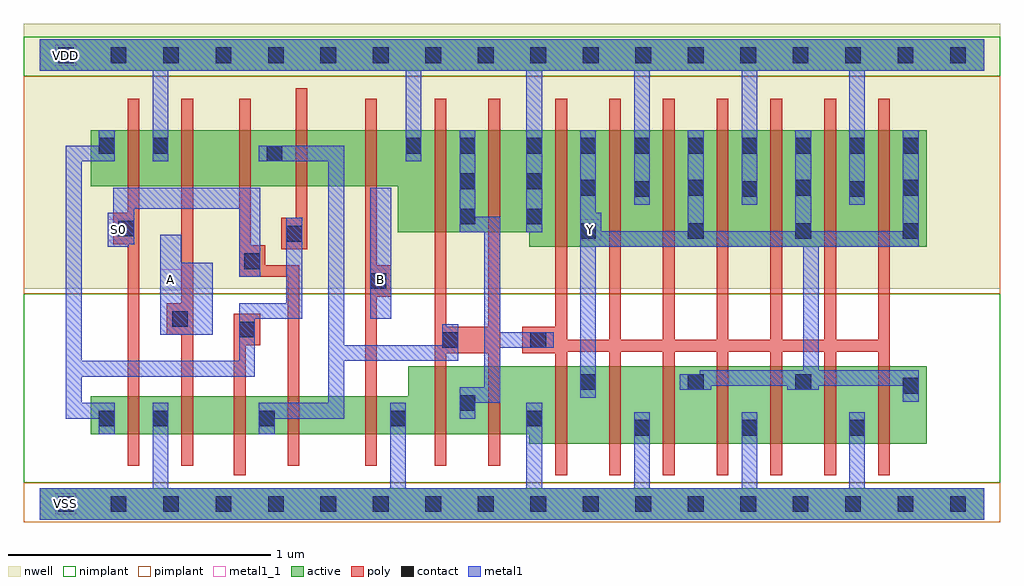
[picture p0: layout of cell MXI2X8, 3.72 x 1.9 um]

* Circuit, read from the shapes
.subckt MXI2X8 A B S0 VDD VSS Y
M1 VSS S0 n1 VSS nfet w=0.145u l=0.045u
M2 n2 A VSS VSS nfet w=0.145u l=0.045u
M3 n3 n1 n2 VSS nfet w=0.145u l=0.045u
M4 n4 S0 n3 VSS nfet w=0.145u l=0.045u
M5 VSS B n4 VSS nfet w=0.145u l=0.045u
M6 n5 n3 VSS VSS nfet w=0.26u l=0.045u m=2
M7 Y n5 VSS VSS nfet w=0.295u l=0.045u m=7
M8 VDD S0 n1 VDD pfet w=0.215u l=0.045u
M9 n6 A VDD VDD pfet w=0.215u l=0.045u
M10 n3 S0 n6 VDD pfet w=0.215u l=0.045u
M11 n7 n1 n3 VDD pfet w=0.215u l=0.045u
M12 VDD B n7 VDD pfet w=0.215u l=0.045u
M13 n5 n3 VDD VDD pfet w=0.39u l=0.045u m=2
M14 Y n5 VDD VDD pfet w=0.445u l=0.045u m=7
.ends

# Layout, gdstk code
import gdstk
lib = gdstk.Library(unit=1e-6, precision=5e-10)
def R(c, l, rs):  # rectangles x0, y0, x1, y1
    for r in rs: c.add(gdstk.rectangle(r[:2], r[2:], *l))
def A(c, l, x, y, w, h, nx, ny, dx, dy):  # array of equal rectangles
    R(c, l, [(x+i*dx, y+j*dy, x+i*dx+w, y+j*dy+h) for i in range(nx) for j in range(ny)])
def P(c, l, *ps):  # polygons
    for p in ps: c.add(gdstk.Polygon(p, *l))
active = (1, 0)
nwell = (2, 0)
poly = (3, 0)
nimplant = (4, 0)
pimplant = (5, 0)
contact = (6, 0)
metal1 = (7, 0)
metal1_1 = (7, 1)

mxi2x8 = lib.new_cell('MXI2X8')
R(mxi2x8, active, [(0,-0.06,3.6,0.06), (0,1.65,3.6,1.77)])
P(mxi2x8, active, [(0.195,1.425),(3.38,1.425),(3.38,0.98),(1.865,0.98),(1.865,1.035),(1.365,1.035),(1.365,1.21),(0.195,1.21)],
  [(1.405,0.525),(3.38,0.525),(3.38,0.23),(1.865,0.23),(1.865,0.265),(0.195,0.265),(0.195,0.41),(1.405,0.41)])
R(mxi2x8, nwell, [(-0.06,0.82,3.66,1.83)])
P(mxi2x8, poly, [(0.335,1.545),(0.38,1.545),(0.38,0.145),(0.335,0.145),(0.335,0.99),(0.28,0.99),(0.28,1.11),(0.335,1.11)],
  [(0.54,1.545),(0.585,1.545),(0.585,0.145),(0.54,0.145),(0.54,0.645),(0.485,0.645),(0.485,0.765),(0.54,0.765)],
  [(0.76,1.545),(0.805,1.545),(0.805,0.985),(0.86,0.985),(0.86,0.91),(0.99,0.91),(0.99,0.145),(0.945,0.145),(0.945,0.865),(0.76,0.865)],
  [(0.975,1.585),(1.02,1.585),(1.02,0.97),(0.92,0.97),(0.92,1.09),(0.975,1.09)],
  [(1.24,1.545),(1.285,1.545),(1.285,0.91),(1.34,0.91),(1.34,0.79),(1.285,0.79),(1.285,0.145),(1.24,0.145)],
  [(1.505,1.545),(1.55,1.545),(1.55,0.675),(1.71,0.675),(1.71,1.545),(1.755,1.545),(1.755,0.145),(1.71,0.145),(1.71,0.575),(1.55,0.575),(1.55,0.145),(1.505,0.145)],
  [(1.965,1.545),(2.01,1.545),(2.01,0.625),(2.17,0.625),(2.17,1.545),(2.215,1.545),(2.215,0.625),(2.375,0.625),(2.375,1.545),(2.42,1.545),(2.42,0.625),(2.58,0.625),(2.58,1.545),(2.625,1.545),(2.625,0.625),(2.785,0.625),(2.785,1.545),(2.83,1.545),(2.83,0.625),(2.99,0.625),(2.99,1.545),(3.035,1.545),(3.035,0.625),(3.195,0.625),(3.195,1.545),(3.24,1.545),(3.24,0.11),(3.195,0.11),(3.195,0.58),(3.035,0.58),(3.035,0.11),(2.99,0.11),(2.99,0.58),(2.83,0.58),(2.83,0.11),(2.785,0.11),(2.785,0.58),(2.625,0.58),(2.625,0.11),(2.58,0.11),(2.58,0.58),(2.42,0.58),(2.42,0.11),(2.375,0.11),(2.375,0.58),(2.215,0.58),(2.215,0.11),(2.17,0.11),(2.17,0.58),(2.01,0.58),(2.01,0.11),(1.965,0.11),(1.965,0.575),(1.84,0.575),(1.84,0.675),(1.965,0.675)],
  [(0.74,0.725),(0.84,0.725),(0.84,0.605),(0.785,0.605),(0.785,0.11),(0.74,0.11)])
R(mxi2x8, nimplant, [(-0.06,0.08,3.66,0.8), (-0.06,1.63,3.66,1.78)])
R(mxi2x8, pimplant, [(-0.06,-0.07,3.66,0.08), (-0.06,0.8,3.66,1.63)])
A(mxi2x8, contact, 0.07, -0.03, 0.06, 0.06, 18, 2, 0.2, 1.71)
A(mxi2x8, contact, 2.265, 0.26, 0.06, 0.06, 3, 2, 0.41, 0.91)
A(mxi2x8, contact, 2.06, 0.435, 0.06, 0.06, 3, 1, 0.41, 0)
A(mxi2x8, contact, 2.06, 1.01, 0.06, 0.06, 4, 2, 0.41, 0.165)
A(mxi2x8, contact, 1.6, 1.065, 0.06, 0.06, 1, 3, 0, 0.135)
A(mxi2x8, contact, 1.855, 1.335, 0.06, 0.06, 8, 1, 0.205, 0)
R(mxi2x8, contact, [(0.225,0.295,0.285,0.355), (0.43,0.295,0.49,0.355), (0.835,0.295,0.895,0.355), (1.335,0.295,1.395,0.355), (1.855,0.295,1.915,0.355), (1.6,0.355,1.66,0.415), (3.29,0.42,3.35,0.48), (1.535,0.595,1.595,0.655), (1.87,0.595,1.93,0.655), (0.76,0.635,0.82,0.695), (0.505,0.675,0.565,0.735), (1.26,0.82,1.32,0.88), (0.78,0.895,0.84,0.955), (0.94,1,1,1.06), (0.3,1.02,0.36,1.08), (1.855,1.065,1.915,1.125), (1.855,1.2,1.915,1.26), (0.865,1.305,0.925,1.365), (0.225,1.335,0.285,1.395), (0.43,1.335,0.49,1.395), (1.395,1.335,1.455,1.395)])
R(mxi2x8, metal1, [(1.26,0.705,1.34,1.205)])
P(mxi2x8, metal1, [(0,1.77),(3.6,1.77),(3.6,1.65),(3.145,1.65),(3.145,1.14),(3.085,1.14),(3.085,1.65),(2.735,1.65),(2.735,1.14),(2.675,1.14),(2.675,1.65),(2.325,1.65),(2.325,1.14),(2.265,1.14),(2.265,1.65),(1.915,1.65),(1.915,1.035),(1.855,1.035),(1.855,1.65),(1.455,1.65),(1.455,1.305),(1.395,1.305),(1.395,1.65),(0.49,1.65),(0.49,1.305),(0.43,1.305),(0.43,1.65),(0,1.65)],
  [(0.225,1.425),(0.285,1.425),(0.285,1.305),(0.16,1.305),(0.16,0.545),(0.76,0.545),(0.76,0.765),(0.94,0.765),(0.94,1.09),(1,1.09),(1,0.705),(0.82,0.705),(0.82,0.485),(0.16,0.485),(0.16,0.385),(0.285,0.385),(0.285,0.265),(0.225,0.265),(0.225,0.325),(0.1,0.325),(0.1,1.365),(0.225,1.365)],
  [(0.835,1.365),(1.16,1.365),(1.16,0.605),(1.535,0.605),(1.535,0.685),(1.595,0.685),(1.595,0.545),(1.16,0.545),(1.16,0.325),(0.895,0.325),(0.895,0.265),(0.835,0.265),(0.835,0.385),(1.1,0.385),(1.1,1.305),(0.835,1.305)],
  [(0.28,1.205),(0.84,1.205),(0.84,0.865),(0.76,0.865),(0.76,1.125),(0.36,1.125),(0.36,0.99),(0.34,0.99),(0.34,0.98),(0.26,0.98),(0.26,1.11),(0.28,1.11)],
  [(0.46,1.025),(0.54,1.025),(0.54,0.92),(0.66,0.92),(0.66,0.645),(0.46,0.645)],
  [(1.6,1.425),(1.66,1.425),(1.66,1.095),(1.755,1.095),(1.755,0.655),(1.96,0.655),(1.96,0.595),(1.755,0.595),(1.755,0.385),(1.66,0.385),(1.66,0.325),(1.6,0.325),(1.6,0.445),(1.695,0.445),(1.695,1.035),(1.6,1.035)],
  [(2.06,1.425),(2.12,1.425),(2.12,1.11),(2.14,1.11),(2.14,1.04),(2.47,1.04),(2.47,1.425),(2.53,1.425),(2.53,1.04),(2.88,1.04),(2.88,1.425),(2.94,1.425),(2.94,1.04),(3.29,1.04),(3.29,1.425),(3.35,1.425),(3.35,0.98),(2.97,0.98),(2.97,0.51),(3.35,0.51),(3.35,0.39),(3.29,0.39),(3.29,0.45),(2.97,0.45),(2.97,0.435),(2.85,0.435),(2.85,0.45),(2.56,0.45),(2.56,0.435),(2.44,0.435),(2.44,0.495),(2.515,0.495),(2.515,0.51),(2.91,0.51),(2.91,0.98),(2.12,0.98),(2.12,0.405),(2.06,0.405)],
  [(0.43,0.385),(0.49,0.385),(0.49,0.06),(1.335,0.06),(1.335,0.385),(1.395,0.385),(1.395,0.06),(1.855,0.06),(1.855,0.385),(1.915,0.385),(1.915,0.06),(2.265,0.06),(2.265,0.35),(2.325,0.35),(2.325,0.06),(2.675,0.06),(2.675,0.35),(2.735,0.35),(2.735,0.06),(3.085,0.06),(3.085,0.35),(3.145,0.35),(3.145,0.06),(3.6,0.06),(3.6,-0.06),(0,-0.06),(0,0.06),(0.43,0.06)])
R(mxi2x8, metal1_1, [(0.06,-0.04,0.14,0.04), (0.46,0.815,0.54,0.895), (1.26,0.815,1.34,0.895), (0.26,1.005,0.34,1.085), (2.06,1.005,2.14,1.085), (0.06,1.67,0.14,1.75)])
mxi2x8.add(gdstk.Label('Y', (2.1,1.045), layer=7, texttype=1))
mxi2x8.add(gdstk.Label('B', (1.3,0.855), layer=7, texttype=1))
mxi2x8.add(gdstk.Label('A', (0.5,0.855), layer=7, texttype=1))
mxi2x8.add(gdstk.Label('S0', (0.3,1.045), layer=7, texttype=1))
mxi2x8.add(gdstk.Label('VDD', (0.1,1.71), layer=7, texttype=1))
mxi2x8.add(gdstk.Label('VSS', (0.1,0), layer=7, texttype=1))
mxi2x8.add(gdstk.Label('MXI2X8', (0,0), layer=63, texttype=0))

lib.write_gds('MXI2X8.gds')
